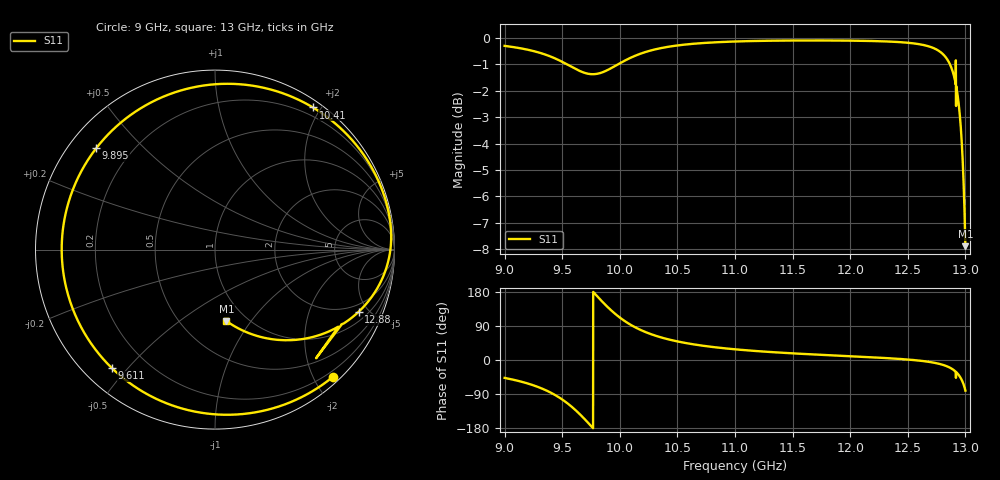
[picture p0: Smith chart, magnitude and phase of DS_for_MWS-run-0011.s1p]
! TOUCHSTONE file generated by CST DESIGN STUDIO
! Date and time: Tue Feb  4 13:24:59 2025
! Project name: C:\Work\MatlabApps\UnitCellOptimizationMatlab\CST\unitcell.cst
! Tree item: Tasks\Sweep1\SPara1\S-Parameters
! Header version: 2024
! Port assignment regex: !\s*Touchstone port\s*([0-9]+)\s*=\s*(CST MWS port|CST DES external port|CST DES block port)\s*(.+)\s* \(\"(.*)\"\)(\s*mode\s*([0-9]+))?.*
! Touchstone port assignment:
! Touchstone port 1 = CST DES external port 1 ("")
# GHz S MA R 50
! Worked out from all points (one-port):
!   4001 points, 9 GHz to 13 GHz, reference 50 ohm
!   lowest |S11| = -7.9 dB at 13 GHz (marker M1), VSWR 2.35, Z = 40.4 - j38.5 ohm
!   |S11| at or under -10 dB: nowhere
!   S11 on the Smith chart (normalised r, x): 9 GHz: 0.11, -2.28; 9.611 GHz: 0.08, -0.45; 9.895 GHz: 0.08, +0.37; 10.41 GHz: 0.09, +1.90; 12.88 GHz: 1.50, -4.32; 13 GHz: 0.81, -0.77
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9  0.9664 -47.3
9.143  0.9559 -57.0
9.273  0.9421 -69.3
9.403  0.9218 -86.5
9.5  0.9015 -104.2
9.557  0.8879 -117.0
9.611  0.8751 -131.0
9.69  0.8598 -154.5
9.757  0.8542 -176.3
9.822  0.8575 162.2
9.895  0.87 139.5
10  0.8956 112.0
10.088  0.9164 94.0
10.197  0.9369 77.1
10.298  0.9508 65.3
10.409  0.9617 55.4
10.5  0.9682 49.0
10.717  0.9783 37.8
11  0.9851 28.2
11.5  0.9893 17.5
12  0.9887 10.0
12.5  0.9797 1.2
12.761  0.9481 -9.3
12.832  0.918 -15.7
12.884  0.8718 -23.5
12.94  0.7567 -38.7
12.969  0.6315 -53.1
13  0.4036 -80.9
